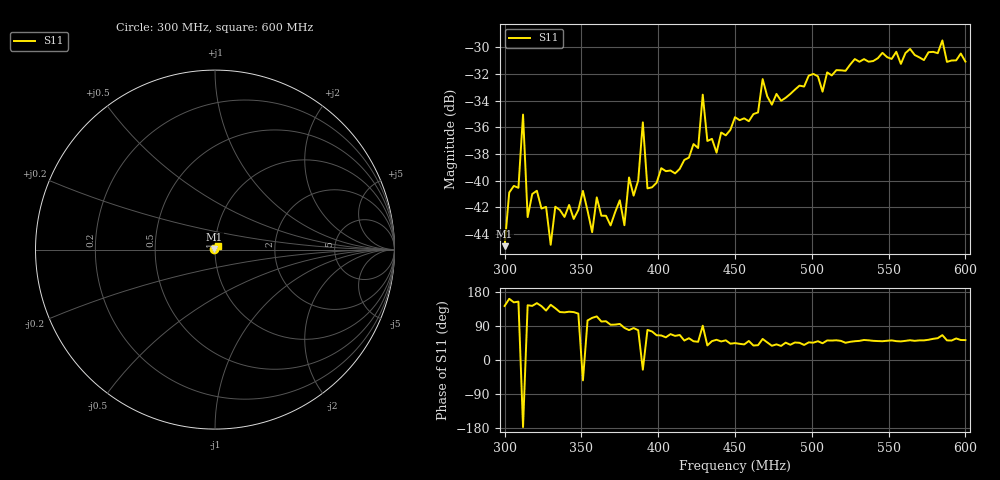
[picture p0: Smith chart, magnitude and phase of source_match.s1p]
! Created with skrf 1.8.0 (http://scikit-rf.org).
# Hz S RI R 50.0
!freq ReS11 ImS11
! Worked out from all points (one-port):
!   101 points, 300 MHz to 600 MHz, reference 50 ohm
!   lowest |S11| = -44.9 dB at 300 MHz (marker M1), VSWR 1.01, Z = 49.5 + j0.342 ohm
!   |S11| at or under -10 dB: start of sweep to end of sweep
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3e8  -0.00451 0.00345
3.03e8  -0.00856 0.00287
3.09e8  -0.00845 0.00412
3.12e8  -0.0177 -0.000914
3.15e8  -0.00594 0.00425
3.21e8  -0.00794 0.00457
3.3e8  -0.00475 0.00324
3.33e8  -0.00581 0.00548
3.39e8  -0.00427 0.00594
3.57e8  -0.00231 0.00598
3.75e8  -0.000758 0.00841
3.78e8  0.000617 0.00678
3.81e8  0.00199 0.0101
3.87e8  0.00199 0.00983
3.9e8  0.0149 -0.00714
3.93e8  0.00172 0.0092
4.14e8  0.0045 0.0101
4.26e8  0.00885 0.00986
4.29e8  -0.000161 0.021
4.32e8  0.011 0.00875
4.38e8  0.00761 0.0102
4.5e8  0.0123 0.0121
4.65e8  0.014 0.0113
4.68e8  0.0136 0.0198
4.89e8  0.0152 0.0158
5.25e8  0.0182 0.0202
5.64e8  0.0191 0.0246
6e8  0.017 0.0222
